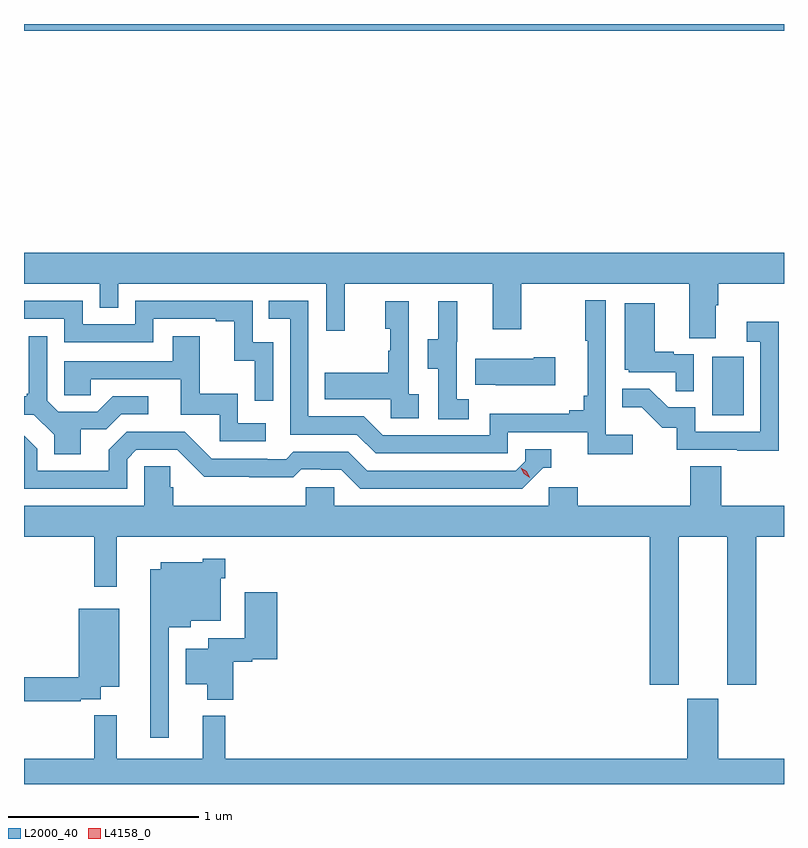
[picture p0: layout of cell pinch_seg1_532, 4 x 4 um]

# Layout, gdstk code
import gdstk
lib = gdstk.Library(unit=1e-6, precision=1e-09)
def R(c, l, rs):  # rectangles x0, y0, x1, y1
    for r in rs: c.add(gdstk.rectangle(r[:2], r[2:], *l))
def P(c, l, *ps):  # polygons
    for p in ps: c.add(gdstk.Polygon(p, *l))
L2000_40 = (2000, 40)
L4158_0 = (4158, 0)

pinch_seg1_532 = lib.new_cell('pinch_seg1_532')
R(pinch_seg1_532, L2000_40, [(1015.4,531.06,1015.564,531.367), (1011.777,533.084,1015.777,533.119)])
P(pinch_seg1_532, L2000_40, [(1015.417,531.64),(1015.43,531.64),(1015.43,531.752),(1015.777,531.752),(1015.777,531.916),(1011.777,531.916),(1011.777,531.752),(1012.176,531.752),(1012.176,531.625),(1012.272,531.625),(1012.272,531.752),(1013.367,531.752),(1013.367,531.504),(1013.465,531.504),(1013.465,531.752),(1014.245,531.752),(1014.245,531.513),(1014.393,531.513),(1014.393,531.752),(1015.277,531.752),(1015.277,531.466),(1015.417,531.466)],
  [(1014.982,530.956),(1014.84,530.956),(1014.84,531.664),(1014.732,531.664),(1014.732,531.451),(1014.743,531.451),(1014.743,531.163),(1014.724,531.163),(1014.724,531.086),(1014.647,531.086),(1014.647,531.067),(1014.228,531.067),(1014.228,530.955),(1013.664,530.955),(1013.565,531.054),(1013.274,531.054),(1013.274,531.663),(1013.065,531.663),(1013.065,531.567),(1013.178,531.567),(1013.178,530.958),(1013.528,530.958),(1013.627,530.859),(1014.324,530.859),(1014.324,530.97),(1014.743,530.97),(1014.743,530.854),(1014.982,530.854)],
  [(1013.088,531.444),(1012.98,531.444),(1012.98,531.663),(1012.362,531.663),(1012.362,531.54),(1012.086,531.54),(1012.086,531.663),(1011.777,531.663),(1011.777,531.567),(1011.99,531.567),(1011.99,531.444),(1012.458,531.444),(1012.458,531.567),(1012.787,531.567),(1012.787,531.555),(1012.883,531.555),(1012.883,531.347),(1012.992,531.347),(1012.992,531.135),(1013.088,531.135)],
  [(1014.118,531.143),(1014.054,531.143),(1014.054,531.447),(1014.056,531.447),(1014.056,531.661),(1013.957,531.661),(1013.957,531.459),(1013.903,531.459),(1013.903,531.304),(1013.958,531.304),(1013.958,531.04),(1014.118,531.04)],
  [(1013.854,531.17),(1013.802,531.17),(1013.802,531.661),(1013.678,531.661),(1013.678,531.516),(1013.704,531.516),(1013.704,531.398),(1013.694,531.398),(1013.694,531.283),(1013.359,531.283),(1013.359,531.143),(1013.706,531.143),(1013.706,531.045),(1013.854,531.045)],
  [(1015.302,531.381),(1015.196,531.381),(1015.196,531.394),(1015.096,531.394),(1015.096,531.649),(1014.938,531.649),(1014.938,531.3),(1014.96,531.3),(1014.96,531.285),(1015.207,531.285),(1015.207,531.187),(1015.302,531.187)],
  [(1015.749,531.553),(1015.581,531.553),(1015.581,531.447),(1015.653,531.447),(1015.653,530.973),(1015.311,530.973),(1015.311,531.102),(1015.167,531.102),(1015.069,531.2),(1014.925,531.2),(1014.925,531.101),(1015.029,531.101),(1015.136,530.994),(1015.213,530.994),(1015.213,530.877),(1015.531,530.877),(1015.531,530.872),(1015.749,530.872)],
  [(1012.075,530.986),(1012.21,530.986),(1012.29,531.066),(1012.432,531.066),(1012.432,531.159),(1012.244,531.159),(1012.163,531.078),(1011.957,531.078),(1011.9,531.135),(1011.9,531.475),(1011.803,531.475),(1011.803,531.172),(1011.792,531.172),(1011.792,531.16),(1011.777,531.16),(1011.777,531.063),(1011.828,531.063),(1011.935,530.956),(1011.935,530.854),(1012.075,530.854)],
  [(1013.05,531.018),(1012.902,531.018),(1012.902,531.172),(1012.703,531.172),(1012.703,531.475),(1012.559,531.475),(1012.559,531.345),(1011.99,531.345),(1011.99,531.165),(1012.127,531.165),(1012.127,531.249),(1012.601,531.249),(1012.601,531.063),(1012.806,531.063),(1012.806,530.922),(1013.05,530.922)],
  [(1014.574,531.366),(1014.461,531.366),(1014.461,531.358),(1014.151,531.358),(1014.151,531.221),(1014.259,531.221),(1014.259,531.218),(1014.574,531.218)],
  [(1012.32,530.829),(1012.368,530.877),(1012.584,530.877),(1012.726,530.735),(1012.962,530.735),(1012.962,530.733),(1013.195,530.733),(1013.237,530.775),(1013.34,530.775),(1013.34,530.772),(1013.447,530.772),(1013.546,530.673),(1014.399,530.673),(1014.51,530.784),(1014.553,530.784),(1014.553,530.88),(1014.414,530.88),(1014.414,530.817),(1014.366,530.769),(1013.583,530.769),(1013.484,530.868),(1013.195,530.868),(1013.156,530.829),(1013.057,530.829),(1013.057,530.832),(1012.764,530.832),(1012.623,530.973),(1012.317,530.973),(1012.223,530.879),(1012.223,530.769),(1011.846,530.769),(1011.846,530.883),(1011.777,530.952),(1011.777,530.673),(1012.32,530.673)],
  [(1012.41,530.792),(1012.41,530.584),(1011.777,530.584),(1011.777,530.42),(1012.147,530.42),(1012.147,530.157),(1012.266,530.157),(1012.266,530.42),(1015.07,530.42),(1015.07,529.641),(1015.222,529.641),(1015.222,530.42),(1015.478,530.42),(1015.478,529.641),(1015.631,529.641),(1015.631,530.42),(1015.777,530.42),(1015.777,530.584),(1015.448,530.584),(1015.448,530.792),(1015.283,530.792),(1015.283,530.584),(1014.692,530.584),(1014.692,530.682),(1014.54,530.682),(1014.54,530.584),(1013.409,530.584),(1013.409,530.682),(1013.259,530.682),(1013.259,530.584),(1012.562,530.584),(1012.562,530.682),(1012.547,530.682),(1012.547,530.792)],
  [(1012.539,529.943),(1012.654,529.943),(1012.654,529.979),(1012.813,529.979),(1012.813,530.201),(1012.835,530.201),(1012.835,530.305),(1012.719,530.305),(1012.719,530.287),(1012.496,530.287),(1012.496,530.248),(1012.442,530.248),(1012.442,529.362),(1012.539,529.362)],
  [(1012.877,529.763),(1012.977,529.763),(1012.977,529.775),(1013.111,529.775),(1013.111,530.128),(1012.94,530.128),(1012.94,529.885),(1012.748,529.885),(1012.748,529.831),(1012.628,529.831),(1012.628,529.643),(1012.742,529.643),(1012.742,529.562),(1012.877,529.562)],
  [(1012.076,529.566),(1012.18,529.566),(1012.18,529.631),(1012.279,529.631),(1012.279,530.041),(1012.064,530.041),(1012.064,529.682),(1011.777,529.682),(1011.777,529.554),(1012.076,529.554)],
  [(1015.777,529.252),(1015.432,529.252),(1015.432,529.569),(1015.268,529.569),(1015.268,529.252),(1012.835,529.252),(1012.835,529.477),(1012.718,529.477),(1012.718,529.252),(1012.265,529.252),(1012.265,529.481),(1012.147,529.481),(1012.147,529.252),(1011.777,529.252),(1011.777,529.119),(1015.777,529.119)])
P(pinch_seg1_532, L4158_0, [(1014.439,530.732),(1014.408,530.752),(1014.391,530.784),(1014.391,530.784),(1014.391,530.784),(1014.422,530.765),(1014.439,530.733),(1014.439,530.732)])

lib.write_gds('pinch_seg1_532.gds')
